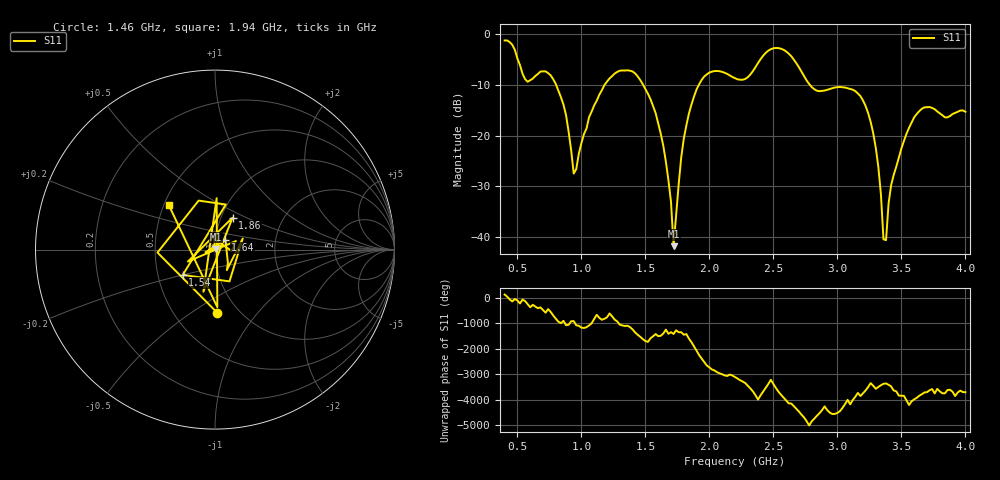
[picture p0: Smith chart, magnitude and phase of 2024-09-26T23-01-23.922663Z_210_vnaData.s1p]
!Created with skrf (http://scikit-rf.org).
# Hz S RI R 50.0
!freq ReS11 ImS11
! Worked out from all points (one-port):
!   181 points, 400 MHz to 4 GHz, reference 50 ohm
!   lowest |S11| = -41.9 dB at 1.72 GHz (marker M1), VSWR 1.02, Z = 50.7 + j0.353 ohm
!   |S11| at or under -10 dB: 802.9 MHz to 1.18 GHz (377.5 MHz wide, 38.1 % of centre); 1.483 GHz to 1.917 GHz (434.6 MHz wide, 25.6 % of centre); 2.786 GHz to end of sweep
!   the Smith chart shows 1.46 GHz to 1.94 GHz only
!   S11 on the Smith chart (normalised r, x): 1.46 GHz: 0.80, -0.64; 1.54 GHz: 0.67, -0.20; 1.64 GHz: 1.12, +0.12; 1.86 GHz: 1.13, +0.42; 1.94 GHz: 0.53, +0.30
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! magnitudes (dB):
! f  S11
! 400 MHz  -1.2
! 560 MHz  -8.9
! 720 MHz  -7.3
! 860 MHz  -13.9
! 940 MHz  -27.5
! 1.1 GHz  -14.0
! 1.3 GHz  -7.2
! 1.46 GHz  -9.0
! 1.54 GHz  -12.8
! 1.64 GHz  -22.0
! 1.7 GHz  -33.1
! 1.72 GHz  -41.9
! 1.76 GHz  -29.6
! 1.86 GHz  -13.9
! 1.94 GHz  -9.0
! 2.2 GHz  -8.7
! 2.5 GHz  -2.8
! 2.66 GHz  -5.0
! 2.84 GHz  -11.1
! 3.1 GHz  -10.8
! 3.28 GHz  -19.6
! 3.32 GHz  -26.2
! 3.36 GHz  -40.5
! 3.38 GHz  -40.7
! 3.42 GHz  -29.8
! 3.56 GHz  -18.5
! 3.68 GHz  -14.4
! 4 GHz  -15.3
